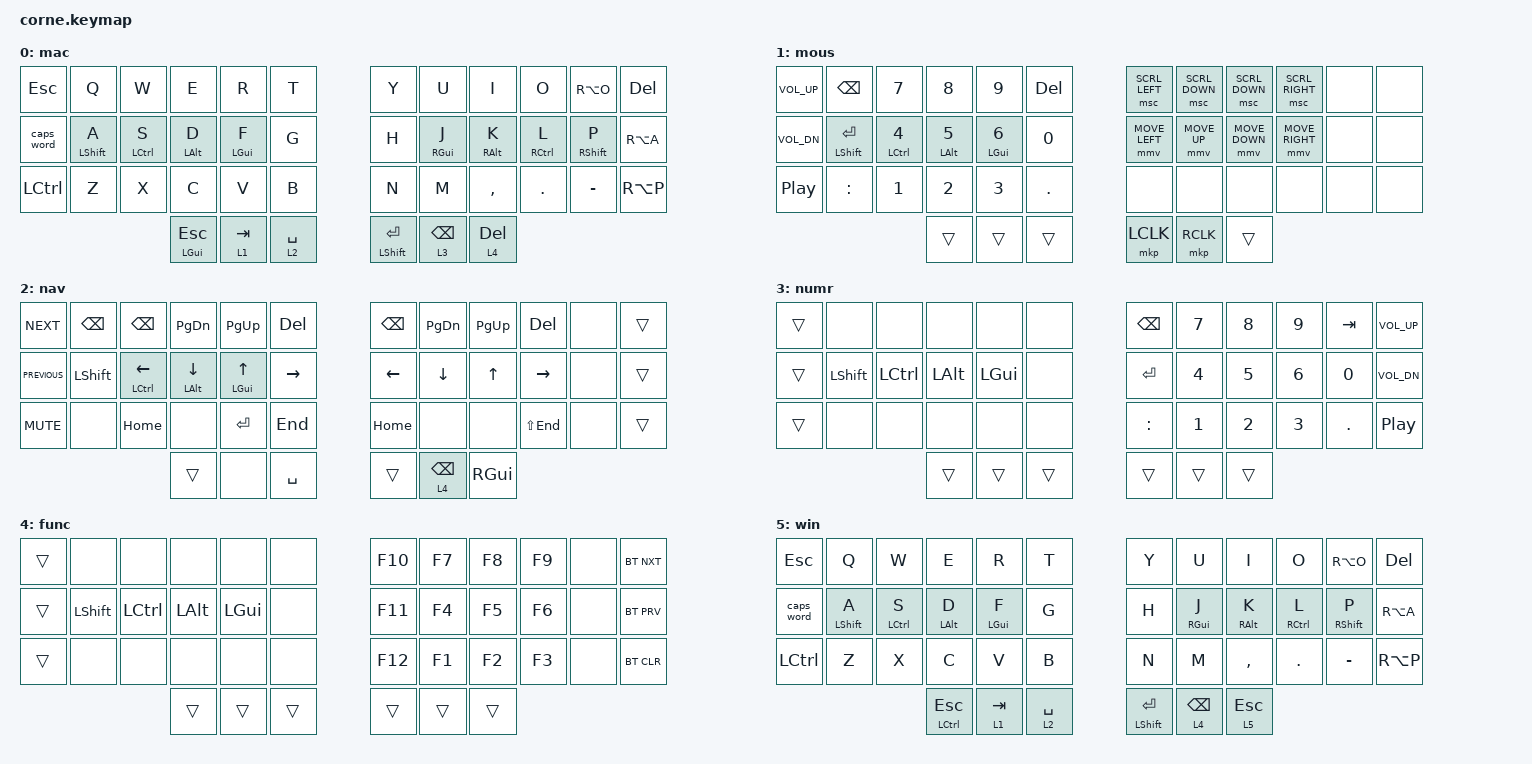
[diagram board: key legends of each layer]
/*
 * Copyright (c) 2020 The ZMK Contributors
 *
 * SPDX-License-Identifier: MIT
 */

#include <behaviors.dtsi>
#include <dt-bindings/zmk/bt.h>
#include <dt-bindings/zmk/keys.h>
#include <dt-bindings/zmk/pointing.h>

// Timing constants

#define TAPPING_TERM_MS 200
#define QUICK_TAP_MS 175
#define REQUIRE_PRIOR_IDLE_MS 150
#define COMBO_TIMEOUT_MS 50
#define COMBO_REQUIRE_PRIOR_IDLE_MS 100

&nice_view_spi { cs-gpios = <&pro_micro 0 GPIO_ACTIVE_HIGH>; };

&mmv {
    x-input-code = <INPUT_REL_X>;
    y-input-code = <INPUT_REL_Y>;
    time-to-max-speed-ms = <70>;
    acceleration-exponent = <2>;
};

&msc {
    x-input-code = <INPUT_REL_HWHEEL>;
    y-input-code = <INPUT_REL_WHEEL>;
    time-to-max-speed-ms = <300>;
    acceleration-exponent = <2>;
};

&mt {
    flavor = "balanced";
    quick-tap-ms = <200>;
    hold-trigger-on-release;
};

&lt {
    flavor = "balanced";
    quick-tap-ms = <200>;
    hold-trigger-on-release;
};

&caps_word { continue-list = <UNDERSCORE MINUS>; };

/ {
    behaviors {
        hml: home_row_mod_left {
            compatible = "zmk,behavior-hold-tap";
            #binding-cells = <2>;
            flavor = "balanced";
            require-prior-idle-ms = <REQUIRE_PRIOR_IDLE_MS>;
            tapping-term-ms = <TAPPING_TERM_MS>;
            quick-tap-ms = <QUICK_TAP_MS>;
            bindings = <&kp>, <&kp>;

            hold-trigger-key-positions = <6 7 8 9 10 11 18 19 20 21 22 23 30 31 32 33 34 35 40 41 12 37 39 38 36>;
            hold-trigger-on-release;
            label = "HOME_ROW_MOD_LEFT";
        };

        hmr: home_row_mod_right {
            compatible = "zmk,behavior-hold-tap";
            #binding-cells = <2>;
            flavor = "balanced";
            require-prior-idle-ms = <REQUIRE_PRIOR_IDLE_MS>;
            tapping-term-ms = <TAPPING_TERM_MS>;
            quick-tap-ms = <QUICK_TAP_MS>;
            bindings = <&kp>, <&kp>;

            hold-trigger-key-positions = <0 1 2 3 4 5 13 14 15 16 17 24 25 26 27 28 29 36 38 40 41 37 12 39>;
            hold-trigger-on-release;
            label = "HOME_ROW_MOD_RIGHT";
        };

        mtcw: mod_tap_caps_word {
            compatible = "zmk,behavior-hold-tap";
            label = "MOD_TAP_CAPS_WORD";
            bindings = <&kp>, <&caps_word>;

            #binding-cells = <2>;
            tapping-term-ms = <TAPPING_TERM_MS>;
            flavor = "balanced";
        };
    };
};

/ {
    combos {
        compatible = "zmk,combos";

        left_parens {
            bindings = <&kp LEFT_PARENTHESIS>;
            key-positions = <15 16>;
            timeout-ms = <COMBO_TIMEOUT_MS>;
            require-prior-idle-ms = <COMBO_REQUIRE_PRIOR_IDLE_MS>;
        };

        left_brace {
            bindings = <&kp LEFT_BRACE>;
            key-positions = <4 3>;
            timeout-ms = <COMBO_TIMEOUT_MS>;
            require-prior-idle-ms = <COMBO_REQUIRE_PRIOR_IDLE_MS>;
        };

        left_bracket {
            bindings = <&kp LEFT_BRACKET>;
            key-positions = <28 27>;
            timeout-ms = <COMBO_TIMEOUT_MS>;
            require-prior-idle-ms = <COMBO_REQUIRE_PRIOR_IDLE_MS>;
        };

        right_parens {
            bindings = <&kp RIGHT_PARENTHESIS>;
            key-positions = <19 20>;
            timeout-ms = <COMBO_TIMEOUT_MS>;
            require-prior-idle-ms = <COMBO_REQUIRE_PRIOR_IDLE_MS>;
        };

        right_brace {
            bindings = <&kp RIGHT_BRACE>;
            key-positions = <8 7>;
            timeout-ms = <35>;
            require-prior-idle-ms = <100>;
        };

        right_bracket {
            bindings = <&kp RIGHT_BRACKET>;
            key-positions = <31 32>;
            timeout-ms = <35>;
            require-prior-idle-ms = <100>;
        };

        colon {
            bindings = <&kp COLON>;
            key-positions = <21 19>;
            timeout-ms = <35>;
            require-prior-idle-ms = <100>;
        };

        semicolon {
            bindings = <&kp SEMICOLON>;
            key-positions = <22 19>;
            timeout-ms = <35>;
            require-prior-idle-ms = <100>;
        };

        slash {
            bindings = <&kp SLASH>;
            key-positions = <19 8>;
            timeout-ms = <35>;
            require-prior-idle-ms = <100>;
        };

        backslash {
            bindings = <&kp BACKSLASH>;
            key-positions = <7 20>;
            timeout-ms = <35>;
            require-prior-idle-ms = <100>;
        };

        equals {
            bindings = <&kp EQUAL>;
            key-positions = <20 21>;
            timeout-ms = <35>;
            require-prior-idle-ms = <100>;
        };

        greater {
            bindings = <&kp GREATER_THAN>;
            key-positions = <31 20>;
            timeout-ms = <35>;
            require-prior-idle-ms = <100>;
        };

        smaller {
            bindings = <&kp LESS_THAN>;
            key-positions = <15 28>;
            timeout-ms = <35>;
            require-prior-idle-ms = <100>;
        };

        exclamation {
            bindings = <&kp EXCL>;
            key-positions = <15 14>;
            timeout-ms = <35>;
            require-prior-idle-ms = <100>;
        };

        question {
            bindings = <&kp QUESTION>;
            key-positions = <3 14>;
            timeout-ms = <35>;
            require-prior-idle-ms = <100>;
        };

        quotes_r {
            bindings = <&kp DOUBLE_QUOTES>;
            key-positions = <7 21>;
            timeout-ms = <35>;
            require-prior-idle-ms = <100>;
        };

        single_quote_r {
            bindings = <&kp SINGLE_QUOTE>;
            key-positions = <8 21>;
        };

        et {
            bindings = <&kp AMPS>;
            key-positions = <3 2>;
            timeout-ms = <35>;
            require-prior-idle-ms = <100>;
        };

        dollar {
            bindings = <&kp DOLLAR>;
            key-positions = <14 16>;
            timeout-ms = <35>;
            require-prior-idle-ms = <100>;
        };

        eur {
            bindings = <&kp RA(N4)>;
            key-positions = <4 2>;
        };

        hash {
            bindings = <&kp HASH>;
            key-positions = <26 28>;
        };

        pipe {
            bindings = <&kp PIPE>;
            key-positions = <26 27>;
            timeout-ms = <35>;
            require-prior-idle-ms = <100>;
        };

        grave {
            bindings = <&kp GRAVE>;
            key-positions = <3 16>;
        };

        plus {
            bindings = <&kp PLUS>;
            key-positions = <8 9>;
        };

        asterisk {
            bindings = <&kp ASTERISK>;
            key-positions = <32 33>;
        };

        at {
            bindings = <&kp AT>;
            key-positions = <7 9>;
        };

        caret {
            bindings = <&kp CARET>;
            key-positions = <19 8 21>;
        };

        percent {
            bindings = <&kp PERCENT>;
            key-positions = <20 9>;
        };

        bootl {
            bindings = <&bootloader>;
            key-positions = <0 5>;
        };

        lalt_space {
            bindings = <&kp LA(SPACE)>;
            key-positions = <37 40>;
        };

        bootr {
            bindings = <&bootloader>;
            key-positions = <6 11>;
        };

        tilde {
            bindings = <&kp TILDE>;
            key-positions = <31 33>;
        };

        mac-to-win-layer {
            bindings = <&tog 5>;
            key-positions = <5 6>;
        };

        leader {
            bindings = <&kp RG(F12)>;
            key-positions = <38 39>;
        };
    };

    keymap {
        compatible = "zmk,keymap";

        root {
            label = "mac";
            bindings = <
&kp ESC     &kp Q              &kp W                &kp E             &kp R            &kp T          &kp Y                 &kp U             &kp I             &kp O                 &kp RA(O)           &kp DELETE
&caps_word  &hml LEFT_SHIFT A  &hml LEFT_CONTROL S  &hml LEFT_ALT D   &hml LEFT_GUI F  &kp G          &kp H                 &hmr RIGHT_GUI J  &hmr RIGHT_ALT K  &hmr RIGHT_CONTROL L  &hmr RIGHT_SHIFT P  &kp RA(A)
&kp LCTRL   &kp Z              &kp X                &kp C             &kp V            &kp B          &kp N                 &kp M             &kp COMMA         &kp DOT               &kp MINUS           &kp RA(P)
                                                    &mt LEFT_GUI ESC  &lt 1 TAB        &lt 2 SPACE    &mt LEFT_SHIFT ENTER  &lt 3 BACKSPACE   &lt 4 DEL
            >;
        };

        mouse_numl {
            label = "mous";
            bindings = <
&kp C_VOL_UP      &kp BACKSPACE          &kp N7                      &kp N8            &kp N9            &kp DELETE    &msc SCRL_LEFT  &msc SCRL_DOWN  &msc SCRL_DOWN  &msc SCRL_RIGHT  &none  &none
&kp C_VOL_DN      &hmr LEFT_SHIFT ENTER  &hml LEFT_CONTROL NUMBER_4  &hml LEFT_ALT N5  &hml LEFT_GUI N6  &kp N0        &mmv MOVE_LEFT  &mmv MOVE_UP    &mmv MOVE_DOWN  &mmv MOVE_RIGHT  &none  &none
&kp C_PLAY_PAUSE  &kp COLON              &kp N1                      &kp N2            &kp N3            &kp PERIOD    &none           &none           &none           &none            &none  &none
                                                                     &trans            &trans            &trans        &mkp LCLK       &mkp RCLK       &trans
            >;
        };

        navigation {
            label = "nav";
            bindings = <
&kp C_NEXT      &kp BACKSPACE   &kp BACKSPACE           &kp PAGE_DOWN       &kp PAGE_UP       &kp DELETE    &kp BACKSPACE  &kp PAGE_DOWN    &kp PAGE_UP    &kp DEL      &none  &trans
&kp C_PREVIOUS  &kp LEFT_SHIFT  &hml LEFT_CONTROL LEFT  &hml LEFT_ALT DOWN  &hml LEFT_GUI UP  &kp RIGHT     &kp LEFT       &kp DOWN         &kp UP         &kp RIGHT    &none  &trans
&kp C_MUTE      &none           &kp HOME                &none               &kp RET           &kp END       &kp HOME       &none            &none          &kp LS(END)  &none  &trans
                                                        &trans              &none             &kp SPACE     &trans         &lt 4 BACKSPACE  &kp RIGHT_GUI
            >;
        };

        numr {
            label = "numr";
            bindings = <
&trans  &none           &none      &none     &none     &none     &kp BACKSPACE  &kp N7  &kp N8  &kp N9  &kp TAB  &kp C_VOLUME_UP
&trans  &kp LEFT_SHIFT  &kp LCTRL  &kp LALT  &kp LGUI  &none     &kp RET        &kp N4  &kp N5  &kp N6  &kp N0   &kp C_VOL_DN
&trans  &none           &none      &none     &none     &none     &kp COLON      &kp N1  &kp N2  &kp N3  &kp DOT  &kp C_PLAY_PAUSE
                                   &trans    &trans    &trans    &trans         &trans  &trans
            >;
        };

        func {
            label = "func";
            bindings = <
&trans  &none           &none      &none     &none     &none     &kp F10  &kp F7  &kp F8  &kp F9  &none  &bt BT_NXT
&trans  &kp LEFT_SHIFT  &kp LCTRL  &kp LALT  &kp LGUI  &none     &kp F11  &kp F4  &kp F5  &kp F6  &none  &bt BT_PRV
&trans  &none           &none      &none     &none     &none     &kp F12  &kp F1  &kp F2  &kp F3  &none  &bt BT_CLR
                                   &trans    &trans    &trans    &trans   &trans  &trans
            >;
        };

        windows {
            label = "win";
            bindings = <
&kp ESC     &kp Q              &kp W                &kp E            &kp R            &kp T          &kp Y                 &kp U             &kp I             &kp O                 &kp RA(O)           &kp DELETE
&caps_word  &hml LEFT_SHIFT A  &hml LEFT_CONTROL S  &hml LEFT_ALT D  &hml LEFT_GUI F  &kp G          &kp H                 &hmr RIGHT_GUI J  &hmr RIGHT_ALT K  &hmr RIGHT_CONTROL L  &hmr RIGHT_SHIFT P  &kp RA(A)
&kp LCTRL   &kp Z              &kp X                &kp C            &kp V            &kp B          &kp N                 &kp M             &kp COMMA         &kp DOT               &kp MINUS           &kp RA(P)
                                                    &mt LCTRL ESC    &lt 1 TAB        &lt 2 SPACE    &mt LEFT_SHIFT ENTER  &lt 4 BACKSPACE   &lt 5 ESC
            >;
        };
    };
};
